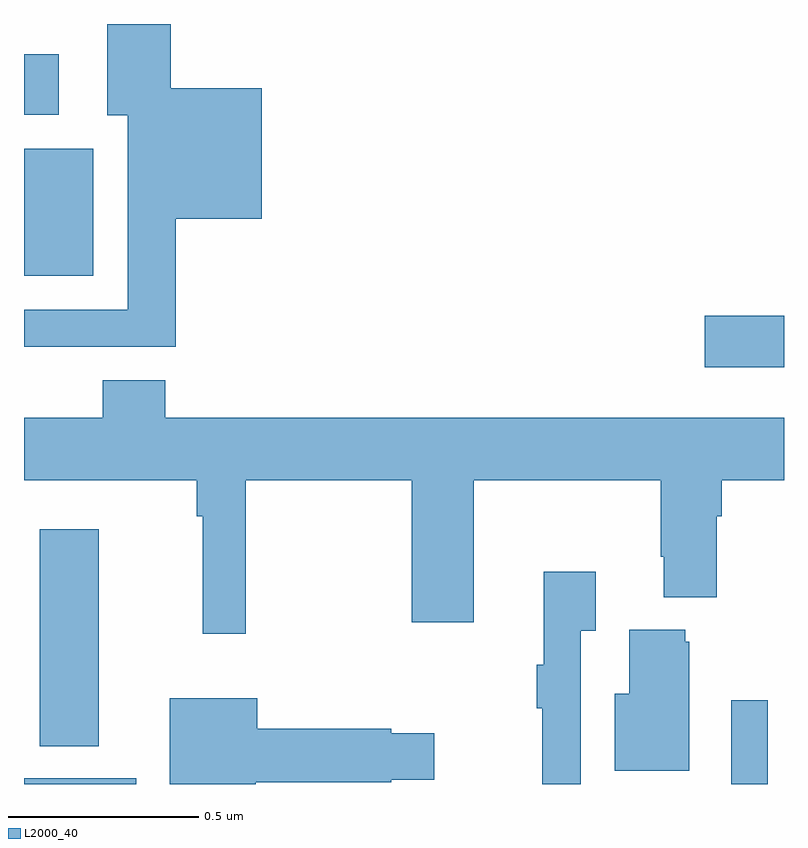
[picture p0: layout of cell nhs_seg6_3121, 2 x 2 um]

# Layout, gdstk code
import gdstk
lib = gdstk.Library(unit=1e-6, precision=1e-09)
def R(c, l, rs):  # rectangles x0, y0, x1, y1
    for r in rs: c.add(gdstk.rectangle(r[:2], r[2:], *l))
def P(c, l, *ps):  # polygons
    for p in ps: c.add(gdstk.Polygon(p, *l))
L2000_40 = (2000, 40)

nhs_seg6_3121 = lib.new_cell('nhs_seg6_3121')
R(nhs_seg6_3121, L2000_40, [(152,982.5,152.296,982.515), (153.861,982.5,153.957,982.72), (152.042,982.6,152.197,983.17), (153.792,983.597,154,983.732), (152,983.837,152.182,984.172), (152,984.261,152.092,984.421)])
P(nhs_seg6_3121, L2000_40, [(152.399,983.987),(152.626,983.987),(152.626,984.331),(152.386,984.331),(152.386,984.5),(152.219,984.5),(152.219,984.26),(152.273,984.26),(152.273,983.748),(152,983.748),(152,983.651),(152.399,983.651)],
  [(152.584,983.3),(153.02,983.3),(153.02,982.926),(153.184,982.926),(153.184,983.3),(153.676,983.3),(153.676,983.098),(153.683,983.098),(153.683,982.991),(153.823,982.991),(153.823,983.204),(153.836,983.204),(153.836,983.3),(154,983.3),(154,983.464),(152.372,983.464),(152.372,983.563),(152.207,983.563),(152.207,983.464),(152,983.464),(152,983.3),(152.455,983.3),(152.455,983.204),(152.47,983.204),(152.47,982.896),(152.584,982.896)],
  [(153.465,982.903),(153.505,982.903),(153.505,983.059),(153.368,983.059),(153.368,982.814),(153.349,982.814),(153.349,982.7),(153.364,982.7),(153.364,982.5),(153.465,982.5)],
  [(153.751,982.875),(153.74,982.875),(153.74,982.906),(153.593,982.906),(153.593,982.738),(153.554,982.738),(153.554,982.535),(153.751,982.535)],
  [(152.61,982.504),(152.966,982.504),(152.966,982.511),(153.079,982.511),(153.079,982.633),(152.966,982.633),(152.966,982.646),(152.614,982.646),(152.614,982.726),(152.384,982.726),(152.384,982.5),(152.61,982.5)])

lib.write_gds('nhs_seg6_3121.gds')
